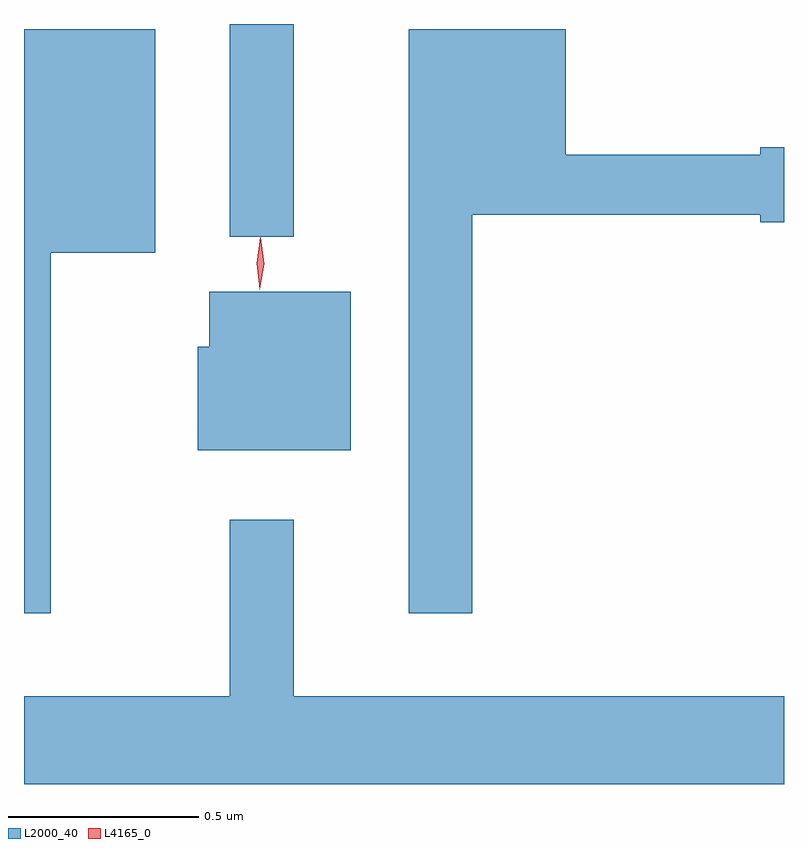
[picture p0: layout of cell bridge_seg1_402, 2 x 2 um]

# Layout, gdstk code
import gdstk
lib = gdstk.Library(unit=1e-6, precision=1e-09)
def R(c, l, rs):  # rectangles x0, y0, x1, y1
    for r in rs: c.add(gdstk.rectangle(r[:2], r[2:], *l))
def P(c, l, *ps):  # polygons
    for p in ps: c.add(gdstk.Polygon(p, *l))
L2000_40 = (2000, 40)
L4165_0 = (4165, 0)

bridge_seg1_402 = lib.new_cell('bridge_seg1_402')
R(bridge_seg1_402, L2000_40, [(579.061,972.093,579.229,972.653)])
P(bridge_seg1_402, L2000_40, [(579.699,972.151),(580.456,972.151),(580.456,972.131),(580.519,972.131),(580.519,972.329),(580.456,972.329),(580.456,972.309),(579.944,972.309),(579.944,972.639),(579.531,972.639),(579.531,971.103),(579.699,971.103)],
  [(578.589,972.051),(578.864,972.051),(578.864,972.639),(578.519,972.639),(578.519,971.103),(578.589,971.103)],
  [(579.379,971.949),(579.006,971.949),(579.006,971.804),(578.976,971.804),(578.976,971.531),(579.379,971.531)],
  [(580.519,970.884),(579.229,970.884),(579.229,971.348),(579.061,971.348),(579.061,970.884),(578.519,970.884),(578.519,970.653),(580.519,970.653)])
P(bridge_seg1_402, L4165_0, [(579.14,971.954),(579.139,971.955),(579.131,972.023),(579.141,972.09),(579.142,972.09),(579.142,972.09),(579.151,972.022),(579.14,971.955)])

lib.write_gds('bridge_seg1_402.gds')
